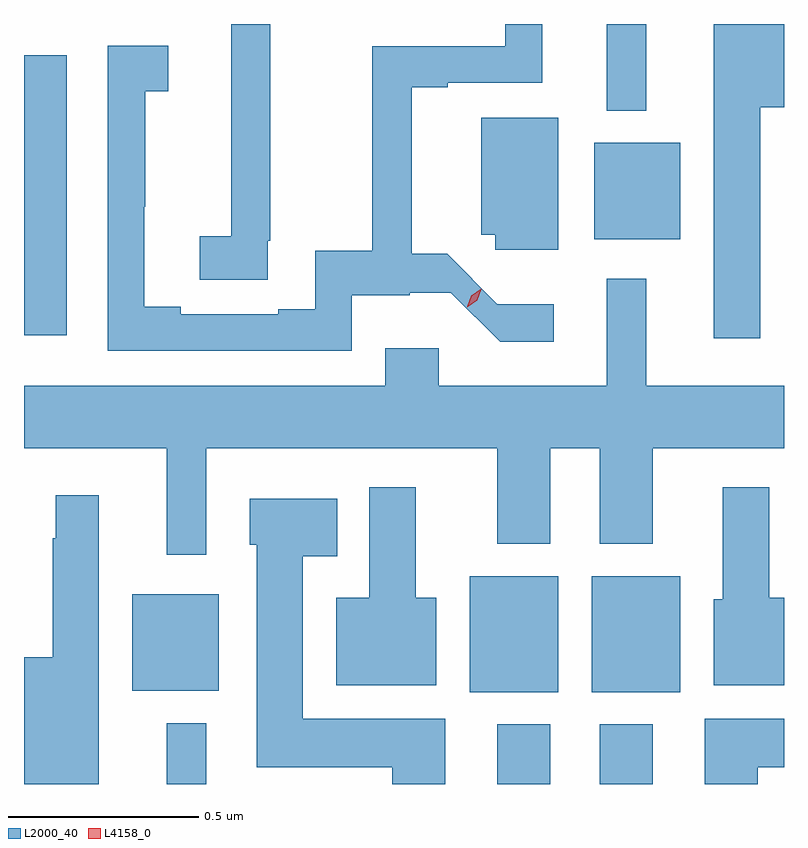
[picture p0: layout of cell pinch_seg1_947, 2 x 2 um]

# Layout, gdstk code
import gdstk
lib = gdstk.Library(unit=1e-6, precision=1e-09)
def R(c, l, rs):  # rectangles x0, y0, x1, y1
    for r in rs: c.add(gdstk.rectangle(r[:2], r[2:], *l))
def P(c, l, *ps):  # polygons
    for p in ps: c.add(gdstk.Polygon(p, *l))
L2000_40 = (2000, 40)
L4158_0 = (4158, 0)

pinch_seg1_947 = lib.new_cell('pinch_seg1_947')
R(pinch_seg1_947, L2000_40, [(117.839,517.548,117.943,517.708), (118.709,517.548,118.849,517.705), (118.979,517.548,119.119,517.705), (118.637,517.79,118.87,518.095), (118.958,517.79,119.191,518.095), (117.749,517.793,117.976,518.047), (117.464,518.729,117.577,519.466), (118.964,518.981,119.191,519.235), (118.997,519.32,119.101,519.548)])
P(pinch_seg1_947, L2000_40, [(118.106,518.977),(118.112,518.977),(118.112,519.548),(118.01,519.548),(118.01,519.273),(118.009,519.273),(118.009,518.99),(117.927,518.99),(117.927,518.875),(118.106,518.875)],
  [(118.326,518.834),(118.479,518.834),(118.479,518.841),(118.587,518.841),(118.717,518.712),(118.858,518.712),(118.858,518.811),(118.71,518.811),(118.578,518.944),(118.484,518.944),(118.484,519.381),(118.579,519.381),(118.579,519.393),(118.828,519.393),(118.828,519.548),(118.73,519.548),(118.73,519.489),(118.381,519.489),(118.381,518.951),(118.23,518.951),(118.23,518.798),(118.133,518.798),(118.133,518.784),(117.877,518.784),(117.877,518.804),(117.781,518.804),(117.781,519.067),(117.783,519.067),(117.783,519.371),(117.844,519.371),(117.844,519.491),(117.684,519.491),(117.684,518.688),(118.326,518.688)],
  [(119.401,519.329),(119.464,519.329),(119.464,519.548),(119.279,519.548),(119.279,518.721),(119.401,518.721)],
  [(118.87,519.301),(118.667,519.301),(118.667,518.994),(118.704,518.994),(118.704,518.954),(118.87,518.954)],
  [(117.943,518.432),(118.709,518.432),(118.709,518.18),(118.849,518.18),(118.849,518.432),(118.979,518.432),(118.979,518.18),(119.119,518.18),(119.119,518.432),(119.464,518.432),(119.464,518.596),(119.101,518.596),(119.101,518.878),(118.997,518.878),(118.997,518.596),(118.555,518.596),(118.555,518.695),(118.415,518.695),(118.415,518.596),(117.464,518.596),(117.464,518.432),(117.839,518.432),(117.839,518.151),(117.943,518.151)],
  [(119.464,518.038),(119.425,518.038),(119.425,518.329),(119.303,518.329),(119.303,518.034),(119.279,518.034),(119.279,517.808),(119.464,517.808)],
  [(118.549,518.038),(118.495,518.038),(118.495,518.329),(118.373,518.329),(118.373,518.038),(118.286,518.038),(118.286,517.808),(118.549,517.808)],
  [(117.661,518.308),(117.547,518.308),(117.547,518.195),(117.54,518.195),(117.54,517.882),(117.464,517.882),(117.464,517.548),(117.661,517.548)],
  [(118.573,517.72),(118.198,517.72),(118.198,518.147),(118.288,518.147),(118.288,518.299),(118.058,518.299),(118.058,518.178),(118.076,518.178),(118.076,517.592),(118.433,517.592),(118.433,517.548),(118.573,517.548)],
  [(119.395,517.592),(119.464,517.592),(119.464,517.72),(119.255,517.72),(119.255,517.548),(119.395,517.548)])
P(pinch_seg1_947, L4158_0, [(118.631,518.803),(118.631,518.804),(118.641,518.833),(118.667,518.851),(118.667,518.851),(118.667,518.85),(118.657,518.821),(118.631,518.803)])

lib.write_gds('pinch_seg1_947.gds')
